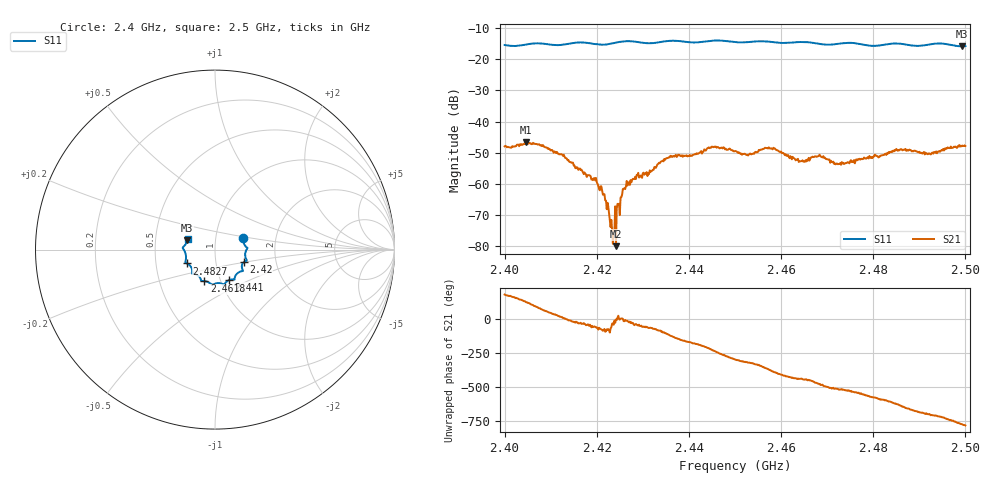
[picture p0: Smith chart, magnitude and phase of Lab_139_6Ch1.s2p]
# Hz S RI R 50
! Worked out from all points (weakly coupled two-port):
!   601 points, 2.4 GHz to 2.5 GHz, reference 50 ohm
!   highest |S21| = -46.55 dB at 2.4047 GHz (marker M1); lowest = -80.1 dB at 2.4242 GHz (marker M2)
!   lowest |S11| = -15.8 dB at 2.4993 GHz (marker M3), VSWR 1.39, Z = 36.5 + j3.84 ohm
!   |S11| at or under -10 dB: start of sweep to end of sweep
!   S12 and S22 are empty: the file has one direction only
!   S11 on the Smith chart (normalised r, x): 2.4 GHz: 1.36, +0.18; 2.42 GHz: 1.36, -0.20; 2.441 GHz: 1.10, -0.39; 2.4618 GHz: 0.84, -0.30; 2.4827 GHz: 0.72, -0.12; 2.5 GHz: 0.73, +0.09
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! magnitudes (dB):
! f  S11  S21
! 2.4 GHz  -15.4  -48.0
! 2.4047 GHz  -15.2  -46.6
! 2.4125 GHz  -15.3  -50.6
! 2.4167 GHz  -14.5  -55.4
! 2.42 GHz  -15.2  -59.5
! 2.422 GHz  -15.2  -65.4
! 2.4233 GHz  -14.9  -75.0
! 2.4238 GHz  -14.7  -75.5
! 2.4242 GHz  -14.6  -80.1
! 2.4262 GHz  -14.2  -61.7
! 2.4333 GHz  -14.5  -53.6
! 2.441 GHz  -14.6  -50.7
! 2.4453 GHz  -14.0  -48.3
! 2.45 GHz  -14.5  -49.5
! 2.4578 GHz  -14.4  -48.6
! 2.4618 GHz  -14.6  -51.8
! 2.4667 GHz  -14.6  -51.5
! 2.4725 GHz  -15.0  -53.7
! 2.4827 GHz  -15.2  -50.4
! 2.4833 GHz  -15.0  -49.8
! 2.4993 GHz  -15.8  -47.7
! 2.5 GHz  -15.7  -47.9
